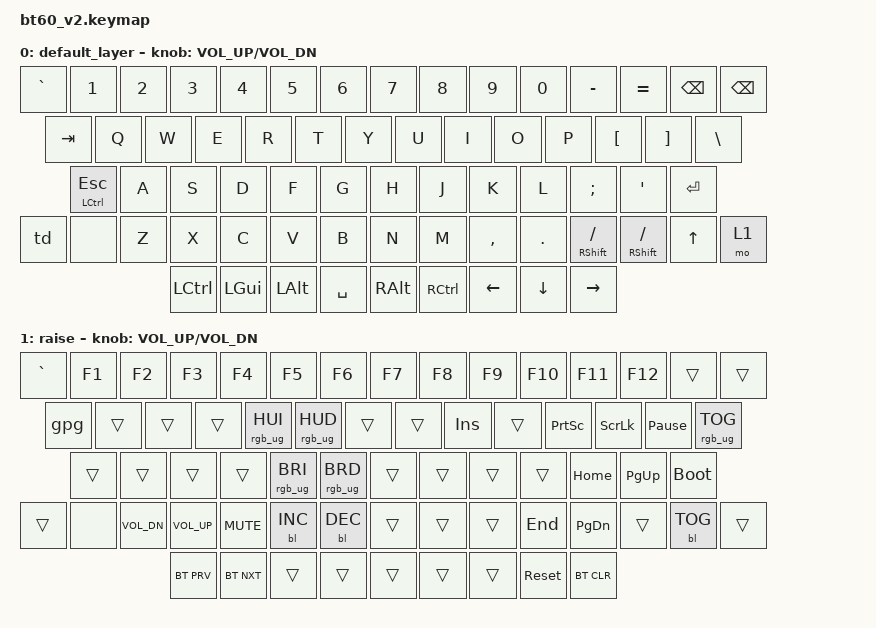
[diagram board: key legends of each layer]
#include <behaviors.dtsi>
#include <dt-bindings/zmk/keys.h>
#include <dt-bindings/zmk/bt.h>
#include <dt-bindings/zmk/rgb.h>
#include <dt-bindings/zmk/backlight.h>

&caps_word {
  continue-list = <UNDERSCORE MINUS BACKSPACE>;
  mods = <MOD_LSFT>;
};

/ {
  chosen {
    zmk,matrix_transform = &all_1u_transform;
  };

  macros {
    gpg: gpg {
      label = "GPG";
      compatible = "zmk,behavior-macro";
      #binding-cells = <0>;
      bindings
        = <&macro_tap &kp N7 &kp N4 &kp N8 &kp N0 &kp N5 &kp N2 &kp N5>;
    };
  };

	behaviors {

		ht: hold-tap {
			compatible = "zmk,behavior-hold-tap";
      label = "HOLD_TAP";
      #binding-cells = <2>;
      bindings = <&kp>, <&kp>;
			flavor = "hold-preferred";
			tapping-term-ms = <150>;
		};

    td: tap-dance {
			compatible = "zmk,behavior-tap-dance";
      label = "TAP_DANCE_CAPS_WORD";
      #binding-cells = <0>;
			tapping-term-ms = <150>;
      bindings = <&kp LSHFT>, <&caps_word>;
    };

	};

  keymap {
    compatible = "zmk,keymap";
    default_layer {
        // --------------------------------------------------------------------------------------------
        // | ESC |  1  |  2  |  3  |  4  |  5  |  6  |  7  |  8  |  9  |  0  |  -  |  =  |BKSP | BSPC |
        // | TAB   |  Q  |  W  |  E  |  R  |  T  |  Y  |  U  |  I  |  O  |  P  |  [  |  ]  |    \     |
        // | CAPS   |  A  |  S  |  D  |  F  |  G  |  H  |  J  |  K  |  L  |  ;  |  '  |     ENTER     |
        // | SHFT  |NONE|  Z  |  X  |  C  |  V  |  B  |  N  |  M  |  ,  |  .  | /   | SHFT | UP |  1  |
        // |  CTL  |  WIN  |  ALT  |           SPACE              | RALT| CTRL | LEFT | DOWN | RIGHT  |
        // --------------------------------------------------------------------------------------------
      bindings = <
        &kp GRAVE &kp N1 &kp N2 &kp N3 &kp N4 &kp N5 &kp N6 &kp N7 &kp  N8   &kp  N9 &kp  N0  &kp MINUS &kp EQUAL &kp BSPC &kp BSPC
        &kp TAB  &kp Q  &kp W  &kp E  &kp R  &kp T  &kp Y  &kp U  &kp  I    &kp  O  &kp  P   &kp LBKT &kp RBKT  &kp BSLH
        &ht LCTRL ESC  &kp A  &kp S  &kp D  &kp F  &kp G  &kp H  &kp J  &kp  K    &kp  L  &kp SEMI &kp SQT           &kp RET
        &td &none  &kp Z  &kp X  &kp C  &kp V  &kp B  &kp N  &kp M  &kp COMMA &kp DOT &ht RSHFT FSLH    &ht RSHFT FSLH  &kp UP &mo 1
        &kp LCTRL &kp LGUI &kp LALT            &kp SPACE                           &kp RALT &kp RCTRL &kp LEFT &kp DOWN &kp RIGHT
      >;
      sensor-bindings = <&inc_dec_kp C_VOL_UP C_VOL_DN>;
    };
    raise {
        // ------------------------------------------------------------------------------------------
        // |GRAVE| F1  | F2  | F3  | F4  | F5  | F6  | F7  | F8  | F9  | F10 | F11 | F12 |BKSP | DEL |
        // | TAB  |  Q  |  W  |  E  | HUI | HUD |  Y  |  U  | INS |  O  |PSCRN| SLCK| P_B | RGB_TOG  |
        // | CAPS  |  A  |  S  |  D  | BRI | BRD |  H  |  J  |  K  |  L  | HOME| PGUP|      BOOT     |
        // | SHFT |NONE|VOLDN|VOLUP|MUTE|BLINC|BLDEC|  N  |  M  |  ,  | END | PGDN | SHFT|BL_TOG| 1  |
        // | BT_PRV| BT_NXT|  ALT  |           SPACE              | RALT| CTRL | LEFT |RESET| BT_CLR |
        // ------------------------------------------------------------------------------------------
      bindings = <
        &kp GRAVE &kp F1 &kp F2 &kp F3 &kp F4 &kp F5 &kp F6 &kp F7 &kp  F8   &kp  F9 &kp  F10  &kp F11 &kp F12   &trans &trans
        &gpg &trans &trans &trans &rgb_ug RGB_HUI &rgb_ug RGB_HUD &trans &trans &kp INS &trans &kp PSCRN &kp SLCK &kp PAUSE_BREAK &rgb_ug RGB_TOG
        &trans    &trans &trans &trans &rgb_ug RGB_BRI &rgb_ug RGB_BRD &trans &trans &trans &trans &kp HOME  &kp PG_UP   &bootloader
        &trans &none &kp C_VOL_DN &kp C_VOL_UP &kp C_MUTE &bl BL_INC &bl BL_DEC &trans &trans &trans &kp END &kp PG_DN &trans &bl BL_TOG &trans
        &bt BT_PRV &bt BT_NXT  &trans              &trans                            &trans  &trans &trans   &sys_reset &bt BT_CLR
      >;
      sensor-bindings = <&inc_dec_kp C_VOL_UP C_VOL_DN>;
    };
  };
};
